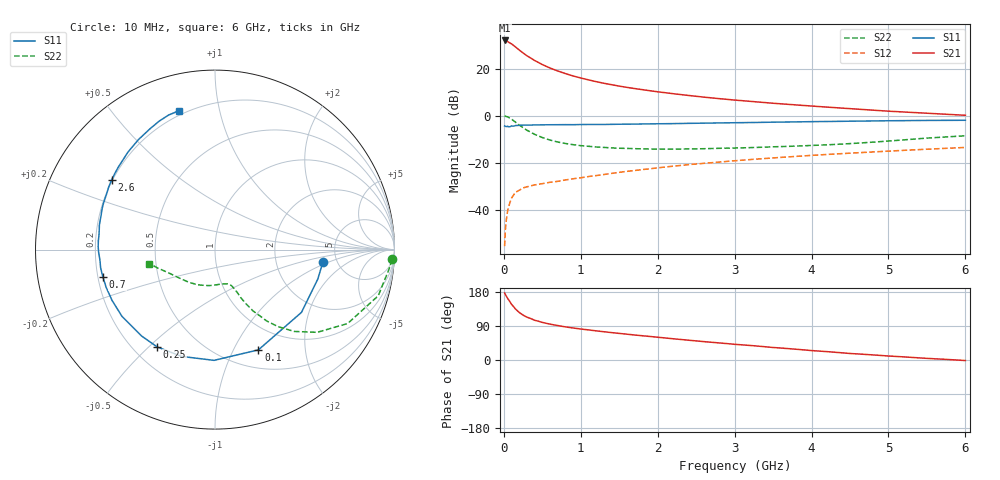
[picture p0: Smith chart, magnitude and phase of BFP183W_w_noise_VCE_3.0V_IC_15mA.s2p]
! Infineon Technologies  Discrete & RF Semiconductors
! BFP183W
! VCE =  3.0 V,  IC =  15 mA
! Common Emitter S-Parameters:  Jan 2017
# GHz  S  MA  R  50
!  f  S11  S21  S12  S22
! GHz  MAG  ANG  MAG  ANG  MAG  ANG  MAG  ANG
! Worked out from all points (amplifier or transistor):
!   77 points, 10 MHz to 6 GHz, reference 50 ohm
!   highest |S21| = 31.9 dB at 10 MHz (marker M1)
!   |S21| within 3 dB of that: start of sweep to 160.6 MHz
!   unconditionally stable (mu >= 1): 1.276 GHz to 3.843 GHz
!   at 130 MHz: K = 0.19, MSG = 31.6 dB, |S12| = -33.5 dB
!   at 2.2 GHz: K = 1.07, MAG = 13.8 dB, |S12| = -21.4 dB
!   at 6 GHz: K = 0.88, MSG = 6.8 dB, |S12| = -13.5 dB
!   lowest NFmin = 1.05 dB at 450 MHz
!   S11 on the Smith chart (normalised r, x): 10 MHz: 3.85, -0.87; 100 MHz: 0.71, -1.26; 250 MHz: 0.29, -0.53; 700 MHz: 0.22, -0.11; 2.6 GHz: 0.20, +0.29; 6 GHz: 0.18, +0.76
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0.01  0.6046 -6.8  39.49 177.1  0.0017 88.5  0.9873 -3.2
0.02  0.5959 -16.0  38.99 172.7  0.0038 88.0  0.9754 -6.5
0.05  0.5953 -36.0  37.49 162.3  0.0096 75.9  0.9452 -15.8
0.1  0.6087 -66.6  33.46 146.8  0.0178 65.4  0.8463 -29.1
0.15  0.6171 -90.5  28.89 134.9  0.0235 55.5  0.7324 -39.0
0.2  0.6235 -107.4  24.76 125.5  0.0261 49.5  0.6351 -45.9
0.25  0.6308 -120.7  21.43 118.4  0.0293 46.7  0.5546 -50.7
0.3  0.6317 -130.4  18.68 113.0  0.0309 43.7  0.491 -54.1
0.4  0.6379 -144.3  14.82 104.9  0.0339 41.2  0.4015 -58.2
0.5  0.6396 -153.7  12.15 99.2  0.0361 42.1  0.3433 -60.4
0.6  0.6418 -160.8  10.29 94.6  0.0386 42.0  0.3038 -61.8
0.7  0.6432 -166.3  8.884 90.9  0.0404 44.0  0.2759 -62.4
0.9  0.6438 -174.9  6.966 84.5  0.0458 47.2  0.2426 -63.9
1.1  0.6511 178.6  5.751 79.4  0.0511 49.3  0.224 -65.2
1.3  0.6513 172.9  4.876 74.6  0.0564 50.6  0.212 -67.2
1.5  0.6586 168.0  4.243 70.2  0.0627 52.4  0.2037 -69.8
2.1  0.6754 155.1  3.069 58.1  0.0814 53.9  0.1953 -81.4
2.6  0.6943 146.1  2.477 48.5  0.0974 53.6  0.199 -93.8
3.1  0.7115 137.7  2.08 39.9  0.1137 52.2  0.2076 -106.4
4.1  0.7496 123.4  1.561 23.5  0.1469 48.0  0.2368 -131.6
5.1  0.7825 112.6  1.221 9.4  0.1802 42.6  0.2979 -155.4
6  0.7992 104.6  1.019 -1.4  0.2118 37.1  0.3741 -168.0
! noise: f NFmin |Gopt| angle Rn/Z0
0.45  1.05  0.15  158  0.1
0.9  1.09  0.21  163  0.09
1.9  1.56  0.39  -168  0.08
2.4  1.8  0.44  -161  0.11
